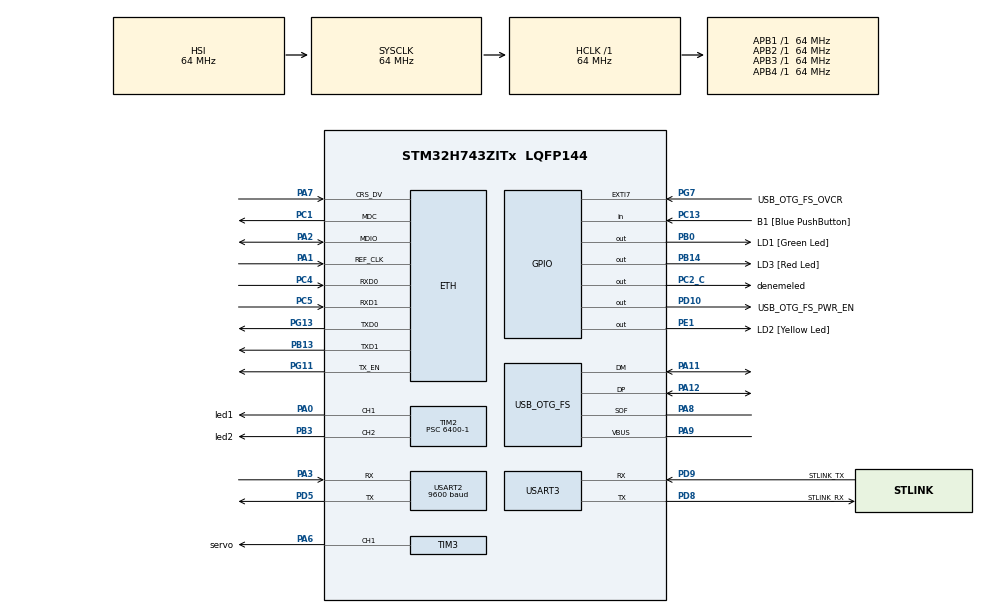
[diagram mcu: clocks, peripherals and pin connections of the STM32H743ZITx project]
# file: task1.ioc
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ETH.MediaInterface=HAL_ETH_RMII_MODE
Mcu.Family=STM32H7
Mcu.Name=STM32H743ZITx
Mcu.Package=LQFP144
NVIC.PriorityGroup=NVIC_PRIORITYGROUP_4
NVIC.TIM2_IRQn=true\:0\:0\:false\:false\:true\:true\:true\:true
NVIC.TIM3_IRQn=true\:0\:0\:false\:false\:true\:true\:true\:true
NVIC.USART2_IRQn=true\:0\:0\:false\:false\:true\:true\:true\:true
PA0.GPIO_Label=led1
PA0.Signal=S_TIM2_CH1_ETR
PA1.Mode=RMII
PA1.Signal=ETH_REF_CLK
PA11.Mode=Device_Only
PA11.Signal=USB_OTG_FS_DM
PA12.Mode=Device_Only
PA12.Signal=USB_OTG_FS_DP
PA2.Mode=RMII
PA2.Signal=ETH_MDIO
PA3.Mode=Asynchronous
PA3.Signal=USART2_RX
PA6.GPIO_Label=servo
PA6.Signal=S_TIM3_CH1
PA7.Mode=RMII
PA7.Signal=ETH_CRS_DV
PA8.Mode=Activate_SOF_FS
PA8.Signal=USB_OTG_FS_SOF
PA9.Mode=Activate_VBUS
PA9.Signal=USB_OTG_FS_VBUS
PB0.GPIO_Label=LD1 [Green Led]
PB0.Signal=GPIO_Output
PB13.Mode=RMII
PB13.Signal=ETH_TXD1
PB14.GPIO_Label=LD3 [Red Led]
PB14.Signal=GPIO_Output
PB3\ (JTDO/TRACESWO).GPIO_Label=led2
PB3\ (JTDO/TRACESWO).Signal=S_TIM2_CH2
PC1.Mode=RMII
PC1.Signal=ETH_MDC
PC13.GPIO_Label=B1 [Blue PushButton]
PC13.Signal=GPIO_Input
PC14-OSC32_IN\ (OSC32_IN).Mode=LSE-External-Oscillator
PC14-OSC32_IN\ (OSC32_IN).Signal=RCC_OSC32_IN
PC15-OSC32_OUT\ (OSC32_OUT).Mode=LSE-External-Oscillator
PC15-OSC32_OUT\ (OSC32_OUT).Signal=RCC_OSC32_OUT
PC2_C.GPIO_Label=denemeled
PC2_C.Signal=GPIO_Output
PC4.Mode=RMII
PC4.Signal=ETH_RXD0
PC5.Mode=RMII
PC5.Signal=ETH_RXD1
PD10.GPIO_Label=USB_OTG_FS_PWR_EN
PD10.Signal=GPIO_Output
PD5.Mode=Asynchronous
PD5.Signal=USART2_TX
PD8.GPIO_Label=STLINK_RX
PD8.Mode=Asynchronous
PD8.Signal=USART3_TX
PD9.GPIO_Label=STLINK_TX
PD9.Mode=Asynchronous
PD9.Signal=USART3_RX
PE1.GPIO_Label=LD2 [Yellow Led]
PE1.Signal=GPIO_Output
PG11.Mode=RMII
PG11.Signal=ETH_TX_EN
PG13.Mode=RMII
PG13.Signal=ETH_TXD0
PG7.GPIO_Label=USB_OTG_FS_OVCR
PG7.Signal=GPXTI7
PH0-OSC_IN\ (PH0).Mode=HSE-External-Clock-Source
PH0-OSC_IN\ (PH0).Signal=RCC_OSC_IN
PH1-OSC_OUT\ (PH1).Signal=RCC_OSC_OUT
ProjectManager.HeapSize=0x200
ProjectManager.StackSize=0x400
ProjectManager.TargetToolchain=STM32CubeIDE
RCC.ADCFreq_Value=16125000
RCC.APB1Freq_Value=64000000
RCC.APB2Freq_Value=64000000
RCC.APB3Freq_Value=64000000
RCC.APB4Freq_Value=64000000
RCC.CortexFreq_Value=64000000
RCC.DIVM1=1
RCC.DIVN1=24
RCC.DIVQ1=4
RCC.HCLKFreq_Value=64000000
RCC.HSE_VALUE=8000000
RCC.PLLFRACN=0
RCC.PWR_Regulator_Voltage_Scale=PWR_REGULATOR_VOLTAGE_SCALE2
RCC.SYSCLKFreq_VALUE=64000000
RCC.USBFreq_Value=48000000
SH.S_TIM2_CH1_ETR.0=TIM2_CH1,PWM Generation1 CH1
SH.S_TIM2_CH2.0=TIM2_CH2,PWM Generation2 CH2
SH.S_TIM3_CH1.0=TIM3_CH1,PWM Generation1 CH1
TIM2.AutoReloadPreload=TIM_AUTORELOAD_PRELOAD_ENABLE
TIM2.Channel-PWM\ Generation1\ CH1=TIM_CHANNEL_1
TIM2.Channel-PWM\ Generation2\ CH2=TIM_CHANNEL_2
TIM2.Period=10000-1
TIM2.Prescaler=6400-1
TIM3.Channel-PWM\ Generation1\ CH1=TIM_CHANNEL_1
TIM3.Period=1000
TIM3.Prescaler=1280-1
USART2.BaudRate=9600
USART2.VirtualMode-Asynchronous=VM_ASYNC
USART3.VirtualMode-Asynchronous=VM_ASYNC
USB_OTG_FS.VirtualMode=Device_Only
VP_MEMORYMAP_VS_MEMORYMAP.Mode=CurAppReg
VP_TIM2_VS_ClockSourceINT.Mode=Internal
VP_TIM3_VS_ClockSourceINT.Mode=Internal
board=NUCLEO-H743ZI2

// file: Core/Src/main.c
/* USER CODE BEGIN Header */
/**
  ******************************************************************************
  * @file           : main.c
  * @brief          : Main program body
  ******************************************************************************
  * @attention
  *
  * Copyright (c) 2024 STMicroelectronics.
  * All rights reserved.
  *
  * This software is licensed under terms that can be found in the LICENSE file
  * in the root directory of this software component.
  * If no LICENSE file comes with this software, it is provided AS-IS.
  *
  ******************************************************************************
  */
/* USER CODE END Header */
#include "main.h"
#include "string.h"

#if defined ( __ICCARM__ ) /*!< IAR Compiler */
#pragma location=0x30000000
ETH_DMADescTypeDef  DMARxDscrTab[ETH_RX_DESC_CNT]; /* Ethernet Rx DMA Descriptors */
#pragma location=0x30000080
ETH_DMADescTypeDef  DMATxDscrTab[ETH_TX_DESC_CNT]; /* Ethernet Tx DMA Descriptors */

#elif defined ( __CC_ARM )  /* MDK ARM Compiler */

__attribute__((at(0x30000000))) ETH_DMADescTypeDef  DMARxDscrTab[ETH_RX_DESC_CNT]; /* Ethernet Rx DMA Descriptors */
__attribute__((at(0x30000080))) ETH_DMADescTypeDef  DMATxDscrTab[ETH_TX_DESC_CNT]; /* Ethernet Tx DMA Descriptors */

#elif defined ( __GNUC__ ) /* GNU Compiler */

ETH_DMADescTypeDef DMARxDscrTab[ETH_RX_DESC_CNT] __attribute__((section(".RxDecripSection"))); /* Ethernet Rx DMA Descriptors */
ETH_DMADescTypeDef DMATxDscrTab[ETH_TX_DESC_CNT] __attribute__((section(".TxDecripSection")));   /* Ethernet Tx DMA Descriptors */
#endif

ETH_TxPacketConfig TxConfig;

ETH_HandleTypeDef heth;

TIM_HandleTypeDef htim2;
TIM_HandleTypeDef htim3;

UART_HandleTypeDef huart2;
UART_HandleTypeDef huart3;

PCD_HandleTypeDef hpcd_USB_OTG_FS;

void SystemClock_Config(void);
static void MX_GPIO_Init(void);
static void MX_ETH_Init(void);
static void MX_USART3_UART_Init(void);
static void MX_USB_OTG_FS_PCD_Init(void);
static void MX_TIM2_Init(void);
static void MX_TIM3_Init(void);
static void MX_USART2_UART_Init(void);

/* USER CODE BEGIN 0 */

uint8_t data[5]={0x00,0x00,0x00,0x00,0x00};
int k=0;
uint8_t data_V[3];
uint8_t data_crc[2];
 uint16_t calculated_crc;

void menu();
void wait(uint8_t data[5]);
void function1(uint8_t data[3] );
void function2();
void function3(uint8_t data[5]);
void function4();

uint16_t crc16_ibm(const uint8_t* data, uint16_t length);

/* USER CODE END 0 */

int main(void)
{

  /* MCU Configuration--------------------------------------------------------*/

  /* Reset of all peripherals, Initializes the Flash interface and the Systick. */
  HAL_Init();

  /* Configure the system clock */
  SystemClock_Config();

  /* Initialize all configured peripherals */
  MX_GPIO_Init();
  MX_ETH_Init();
  MX_USART3_UART_Init();
  MX_USB_OTG_FS_PCD_Init();
  MX_TIM2_Init();
  MX_TIM3_Init();
  MX_USART2_UART_Init();
  /* USER CODE BEGIN 2 */
  HAL_UART_Receive_IT(&huart2,data,sizeof(data));

  /* USER CODE END 2 */

  /* Infinite loop */
  /* USER CODE BEGIN WHILE */
  while (1)
  {

		 menu();
		 wait(data);
		 HAL_Delay(50);

		 data_V[0]=data[0];
		 data_V[1]=data[1];
		 data_V[2]=data[2];

		calculated_crc = crc16_ibm(data_V,sizeof(data_V));

		 data_crc[0]=data[3];
		 data_crc[1]=data[4];

		uint16_t combined = ((uint16_t)data_crc[0] << 8) | (uint16_t)data_crc[1];
		uint8_t data1=0x31;
		uint8_t data2=0x32;
		uint8_t data3=0x33;
		uint8_t data4=0x30;

		 if (combined == calculated_crc) {
		     const char* true_msg = "No error, selected action is being performed...\n";
		     HAL_UART_Transmit(&huart2, true_msg, strlen(true_msg), 1000);

		      if(data[1]==data1){
		    	  function1(data_V);
		        //fuction1();
		      }
		      else if(data[1]==data2){
		    	   function2();
		    	  //function2();
		      }
		      else if(data[1]==data3){
		    	  function3(data);
		    	  //function3();
		      }
		      else if(data[1]==data4){
		    	  function4();

		    }
		      else{
		    	  const char* false_msg = "Please choose an option in the menu...\n";
		    	  HAL_UART_Transmit(&huart2, (uint8_t*)false_msg, strlen(false_msg), 1000);
		      }

		 } else if (combined != calculated_crc) {
		     const char* false_msg = "There is an error, check the entered data or crc value...\n";
		     HAL_UART_Transmit(&huart2, (uint8_t*)false_msg, strlen(false_msg), 1000);
		 }

    /* USER CODE END WHILE */

  }
}

void SystemClock_Config(void)
{
  RCC_OscInitTypeDef RCC_OscInitStruct = {0};
  RCC_ClkInitTypeDef RCC_ClkInitStruct = {0};

  /** Supply configuration update enable
  */
  HAL_PWREx_ConfigSupply(PWR_LDO_SUPPLY);

  /** Configure the main internal regulator output voltage
  */
  __HAL_PWR_VOLTAGESCALING_CONFIG(PWR_REGULATOR_VOLTAGE_SCALE2);

  while(!__HAL_PWR_GET_FLAG(PWR_FLAG_VOSRDY)) {}

  /** Initializes the RCC Oscillators according to the specified parameters
  * in the RCC_OscInitTypeDef structure.
  */
  RCC_OscInitStruct.OscillatorType = RCC_OSCILLATORTYPE_HSI|RCC_OSCILLATORTYPE_HSE;
  RCC_OscInitStruct.HSEState = RCC_HSE_BYPASS;
  RCC_OscInitStruct.HSIState = RCC_HSI_DIV1;
  RCC_OscInitStruct.HSICalibrationValue = RCC_HSICALIBRATION_DEFAULT;
  RCC_OscInitStruct.PLL.PLLState = RCC_PLL_ON;
  RCC_OscInitStruct.PLL.PLLSource = RCC_PLLSOURCE_HSE;
  RCC_OscInitStruct.PLL.PLLM = 1;
  RCC_OscInitStruct.PLL.PLLN = 24;
  RCC_OscInitStruct.PLL.PLLP = 2;
  RCC_OscInitStruct.PLL.PLLQ = 4;
  RCC_OscInitStruct.PLL.PLLR = 2;
  RCC_OscInitStruct.PLL.PLLRGE = RCC_PLL1VCIRANGE_3;
  RCC_OscInitStruct.PLL.PLLVCOSEL = RCC_PLL1VCOWIDE;
  RCC_OscInitStruct.PLL.PLLFRACN = 0;
  if (HAL_RCC_OscConfig(&RCC_OscInitStruct) != HAL_OK)
  {
    Error_Handler();
  }

  /** Initializes the CPU, AHB and APB buses clocks
  */
  RCC_ClkInitStruct.ClockType = RCC_CLOCKTYPE_HCLK|RCC_CLOCKTYPE_SYSCLK
                              |RCC_CLOCKTYPE_PCLK1|RCC_CLOCKTYPE_PCLK2
                              |RCC_CLOCKTYPE_D3PCLK1|RCC_CLOCKTYPE_D1PCLK1;
  RCC_ClkInitStruct.SYSCLKSource = RCC_SYSCLKSOURCE_HSI;
  RCC_ClkInitStruct.SYSCLKDivider = RCC_SYSCLK_DIV1;
  RCC_ClkInitStruct.AHBCLKDivider = RCC_HCLK_DIV1;
  RCC_ClkInitStruct.APB3CLKDivider = RCC_APB3_DIV1;
  RCC_ClkInitStruct.APB1CLKDivider = RCC_APB1_DIV1;
  RCC_ClkInitStruct.APB2CLKDivider = RCC_APB2_DIV1;
  RCC_ClkInitStruct.APB4CLKDivider = RCC_APB4_DIV1;

  if (HAL_RCC_ClockConfig(&RCC_ClkInitStruct, FLASH_LATENCY_1) != HAL_OK)
  {
    Error_Handler();
  }
}

static void MX_ETH_Init(void)
{

   static uint8_t MACAddr[6];

  heth.Instance = ETH;
  MACAddr[0] = 0x00;
  MACAddr[1] = 0x80;
  MACAddr[2] = 0xE1;
  MACAddr[3] = 0x00;
  MACAddr[4] = 0x00;
  MACAddr[5] = 0x00;
  heth.Init.MACAddr = &MACAddr[0];
  heth.Init.MediaInterface = HAL_ETH_RMII_MODE;
  heth.Init.TxDesc = DMATxDscrTab;
  heth.Init.RxDesc = DMARxDscrTab;
  heth.Init.RxBuffLen = 1524;

  if (HAL_ETH_Init(&heth) != HAL_OK)
  {
    Error_Handler();
  }

  memset(&TxConfig, 0 , sizeof(ETH_TxPacketConfig));
  TxConfig.Attributes = ETH_TX_PACKETS_FEATURES_CSUM | ETH_TX_PACKETS_FEATURES_CRCPAD;
  TxConfig.ChecksumCtrl = ETH_CHECKSUM_IPHDR_PAYLOAD_INSERT_PHDR_CALC;
  TxConfig.CRCPadCtrl = ETH_CRC_PAD_INSERT;

}

static void MX_TIM2_Init(void)
{

  TIM_ClockConfigTypeDef sClockSourceConfig = {0};
  TIM_MasterConfigTypeDef sMasterConfig = {0};
  TIM_OC_InitTypeDef sConfigOC = {0};

  htim2.Instance = TIM2;
  htim2.Init.Prescaler = 6400-1;
  htim2.Init.CounterMode = TIM_COUNTERMODE_UP;
  htim2.Init.Period = 10000-1;
  htim2.Init.ClockDivision = TIM_CLOCKDIVISION_DIV1;
  htim2.Init.AutoReloadPreload = TIM_AUTORELOAD_PRELOAD_ENABLE;
  if (HAL_TIM_Base_Init(&htim2) != HAL_OK)
  {
    Error_Handler();
  }
  sClockSourceConfig.ClockSource = TIM_CLOCKSOURCE_INTERNAL;
  if (HAL_TIM_ConfigClockSource(&htim2, &sClockSourceConfig) != HAL_OK)
  {
    Error_Handler();
  }
  if (HAL_TIM_PWM_Init(&htim2) != HAL_OK)
  {
    Error_Handler();
  }
  sMasterConfig.MasterOutputTrigger = TIM_TRGO_RESET;
  sMasterConfig.MasterSlaveMode = TIM_MASTERSLAVEMODE_DISABLE;
  if (HAL_TIMEx_MasterConfigSynchronization(&htim2, &sMasterConfig) != HAL_OK)
  {
    Error_Handler();
  }
  sConfigOC.OCMode = TIM_OCMODE_PWM1;
  sConfigOC.Pulse = 0;
  sConfigOC.OCPolarity = TIM_OCPOLARITY_HIGH;
  sConfigOC.OCFastMode = TIM_OCFAST_DISABLE;
  if (HAL_TIM_PWM_ConfigChannel(&htim2, &sConfigOC, TIM_CHANNEL_1) != HAL_OK)
  {
    Error_Handler();
  }
  if (HAL_TIM_PWM_ConfigChannel(&htim2, &sConfigOC, TIM_CHANNEL_2) != HAL_OK)
  {
    Error_Handler();
  }
  HAL_TIM_MspPostInit(&htim2);

}

static void MX_TIM3_Init(void)
{

  TIM_ClockConfigTypeDef sClockSourceConfig = {0};
  TIM_MasterConfigTypeDef sMasterConfig = {0};
  TIM_OC_InitTypeDef sConfigOC = {0};

  htim3.Instance = TIM3;
  htim3.Init.Prescaler = 1280-1;
  htim3.Init.CounterMode = TIM_COUNTERMODE_UP;
  htim3.Init.Period = 1000;
  htim3.Init.ClockDivision = TIM_CLOCKDIVISION_DIV1;
  htim3.Init.AutoReloadPreload = TIM_AUTORELOAD_PRELOAD_DISABLE;
  if (HAL_TIM_Base_Init(&htim3) != HAL_OK)
  {
    Error_Handler();
  }
  sClockSourceConfig.ClockSource = TIM_CLOCKSOURCE_INTERNAL;
  if (HAL_TIM_ConfigClockSource(&htim3, &sClockSourceConfig) != HAL_OK)
  {
    Error_Handler();
  }
  if (HAL_TIM_PWM_Init(&htim3) != HAL_OK)
  {
    Error_Handler();
  }
  sMasterConfig.MasterOutputTrigger = TIM_TRGO_RESET;
  sMasterConfig.MasterSlaveMode = TIM_MASTERSLAVEMODE_DISABLE;
  if (HAL_TIMEx_MasterConfigSynchronization(&htim3, &sMasterConfig) != HAL_OK)
  {
    Error_Handler();
  }
  sConfigOC.OCMode = TIM_OCMODE_PWM1;
  sConfigOC.Pulse = 0;
  sConfigOC.OCPolarity = TIM_OCPOLARITY_HIGH;
  sConfigOC.OCFastMode = TIM_OCFAST_DISABLE;
  if (HAL_TIM_PWM_ConfigChannel(&htim3, &sConfigOC, TIM_CHANNEL_1) != HAL_OK)
  {
    Error_Handler();
  }
  HAL_TIM_MspPostInit(&htim3);

}

static void MX_USART2_UART_Init(void)
{

  huart2.Instance = USART2;
  huart2.Init.BaudRate = 9600;
  huart2.Init.WordLength = UART_WORDLENGTH_8B;
  huart2.Init.StopBits = UART_STOPBITS_1;
  huart2.Init.Parity = UART_PARITY_NONE;
  huart2.Init.Mode = UART_MODE_TX_RX;
  huart2.Init.HwFlowCtl = UART_HWCONTROL_NONE;
  huart2.Init.OverSampling = UART_OVERSAMPLING_16;
  huart2.Init.OneBitSampling = UART_ONE_BIT_SAMPLE_DISABLE;
  huart2.Init.ClockPrescaler = UART_PRESCALER_DIV1;
  huart2.AdvancedInit.AdvFeatureInit = UART_ADVFEATURE_NO_INIT;
  if (HAL_UART_Init(&huart2) != HAL_OK)
  {
    Error_Handler();
  }
  if (HAL_UARTEx_SetTxFifoThreshold(&huart2, UART_TXFIFO_THRESHOLD_1_8) != HAL_OK)
  {
    Error_Handler();
  }
  if (HAL_UARTEx_SetRxFifoThreshold(&huart2, UART_RXFIFO_THRESHOLD_1_8) != HAL_OK)
  {
    Error_Handler();
  }
  if (HAL_UARTEx_DisableFifoMode(&huart2) != HAL_OK)
  {
    Error_Handler();
  }

}

static void MX_USART3_UART_Init(void)
{

  huart3.Instance = USART3;
  huart3.Init.BaudRate = 115200;
  huart3.Init.WordLength = UART_WORDLENGTH_8B;
  huart3.Init.StopBits = UART_STOPBITS_1;
  huart3.Init.Parity = UART_PARITY_NONE;
  huart3.Init.Mode = UART_MODE_TX_RX;
  huart3.Init.HwFlowCtl = UART_HWCONTROL_NONE;
  huart3.Init.OverSampling = UART_OVERSAMPLING_16;
  huart3.Init.OneBitSampling = UART_ONE_BIT_SAMPLE_DISABLE;
  huart3.Init.ClockPrescaler = UART_PRESCALER_DIV1;
  huart3.AdvancedInit.AdvFeatureInit = UART_ADVFEATURE_NO_INIT;
  if (HAL_UART_Init(&huart3) != HAL_OK)
  {
    Error_Handler();
  }
  if (HAL_UARTEx_SetTxFifoThreshold(&huart3, UART_TXFIFO_THRESHOLD_1_8) != HAL_OK)
  {
    Error_Handler();
  }
  if (HAL_UARTEx_SetRxFifoThreshold(&huart3, UART_RXFIFO_THRESHOLD_1_8) != HAL_OK)
  {
    Error_Handler();
  }
  if (HAL_UARTEx_DisableFifoMode(&huart3) != HAL_OK)
  {
    Error_Handler();
  }

}

static void MX_USB_OTG_FS_PCD_Init(void)
{

  hpcd_USB_OTG_FS.Instance = USB_OTG_FS;
  hpcd_USB_OTG_FS.Init.dev_endpoints = 9;
  hpcd_USB_OTG_FS.Init.speed = PCD_SPEED_FULL;
  hpcd_USB_OTG_FS.Init.dma_enable = DISABLE;
  hpcd_USB_OTG_FS.Init.phy_itface = PCD_PHY_EMBEDDED;
  hpcd_USB_OTG_FS.Init.Sof_enable = ENABLE;
  hpcd_USB_OTG_FS.Init.low_power_enable = DISABLE;
  hpcd_USB_OTG_FS.Init.lpm_enable = DISABLE;
  hpcd_USB_OTG_FS.Init.battery_charging_enable = ENABLE;
  hpcd_USB_OTG_FS.Init.vbus_sensing_enable = ENABLE;
  hpcd_USB_OTG_FS.Init.use_dedicated_ep1 = DISABLE;
  if (HAL_PCD_Init(&hpcd_USB_OTG_FS) != HAL_OK)
  {
    Error_Handler();
  }

}

static void MX_GPIO_Init(void)
{
  GPIO_InitTypeDef GPIO_InitStruct = {0};

  /* GPIO Ports Clock Enable */
  __HAL_RCC_GPIOC_CLK_ENABLE();
  __HAL_RCC_GPIOH_CLK_ENABLE();
  __HAL_RCC_GPIOA_CLK_ENABLE();
  __HAL_RCC_GPIOB_CLK_ENABLE();
  __HAL_RCC_GPIOD_CLK_ENABLE();
  __HAL_RCC_GPIOG_CLK_ENABLE();
  __HAL_RCC_GPIOE_CLK_ENABLE();

  /*Configure GPIO pin Output Level */
  HAL_GPIO_WritePin(denemeled_GPIO_Port, denemeled_Pin, GPIO_PIN_RESET);

  /*Configure GPIO pin Output Level */
  HAL_GPIO_WritePin(GPIOB, LD1_Pin|LD3_Pin, GPIO_PIN_RESET);

  /*Configure GPIO pin Output Level */
  HAL_GPIO_WritePin(USB_OTG_FS_PWR_EN_GPIO_Port, USB_OTG_FS_PWR_EN_Pin, GPIO_PIN_RESET);

  /*Configure GPIO pin Output Level */
  HAL_GPIO_WritePin(LD2_GPIO_Port, LD2_Pin, GPIO_PIN_RESET);

  /*Configure GPIO pin : B1_Pin */
  GPIO_InitStruct.Pin = B1_Pin;
  GPIO_InitStruct.Mode = GPIO_MODE_INPUT;
  GPIO_InitStruct.Pull = GPIO_NOPULL;
  HAL_GPIO_Init(B1_GPIO_Port, &GPIO_InitStruct);

  /*Configure GPIO pin : denemeled_Pin */
  GPIO_InitStruct.Pin = denemeled_Pin;
  GPIO_InitStruct.Mode = GPIO_MODE_OUTPUT_PP;
  GPIO_InitStruct.Pull = GPIO_NOPULL;
  GPIO_InitStruct.Speed = GPIO_SPEED_FREQ_LOW;
  HAL_GPIO_Init(denemeled_GPIO_Port, &GPIO_InitStruct);

  /*Configure GPIO pins : LD1_Pin LD3_Pin */
  GPIO_InitStruct.Pin = LD1_Pin|LD3_Pin;
  GPIO_InitStruct.Mode = GPIO_MODE_OUTPUT_PP;
  GPIO_InitStruct.Pull = GPIO_NOPULL;
  GPIO_InitStruct.Speed = GPIO_SPEED_FREQ_LOW;
  HAL_GPIO_Init(GPIOB, &GPIO_InitStruct);

  /*Configure GPIO pin : USB_OTG_FS_PWR_EN_Pin */
  GPIO_InitStruct.Pin = USB_OTG_FS_PWR_EN_Pin;
  GPIO_InitStruct.Mode = GPIO_MODE_OUTPUT_PP;
  GPIO_InitStruct.Pull = GPIO_NOPULL;
  GPIO_InitStruct.Speed = GPIO_SPEED_FREQ_LOW;
  HAL_GPIO_Init(USB_OTG_FS_PWR_EN_GPIO_Port, &GPIO_InitStruct);

  /*Configure GPIO pin : USB_OTG_FS_OVCR_Pin */
  GPIO_InitStruct.Pin = USB_OTG_FS_OVCR_Pin;
  GPIO_InitStruct.Mode = GPIO_MODE_IT_RISING;
  GPIO_InitStruct.Pull = GPIO_NOPULL;
  HAL_GPIO_Init(USB_OTG_FS_OVCR_GPIO_Port, &GPIO_InitStruct);

  /*Configure GPIO pin : LD2_Pin */
  GPIO_InitStruct.Pin = LD2_Pin;
  GPIO_InitStruct.Mode = GPIO_MODE_OUTPUT_PP;
  GPIO_InitStruct.Pull = GPIO_NOPULL;
  GPIO_InitStruct.Speed = GPIO_SPEED_FREQ_LOW;
  HAL_GPIO_Init(LD2_GPIO_Port, &GPIO_InitStruct);

}

/* USER CODE BEGIN 4 */
void HAL_UART_RxCpltCallback(UART_HandleTypeDef *huart)
{
	 HAL_UART_Receive_IT(&huart2, data, sizeof(data));
}

void menu(){
	char* menu1="*********************************\n";
	char* menu2="Enter 3 number with hex code,\n";
	char* menu3="And enter the their crc number:,\n";
	char* menu4="            Menu:\n";
	char* menu5="1-Light the LED with the PWM\n";
	char* menu6="---(1) red,(2) blue,(3) both\n";
	char* menu7="2-Light the led with the timer\n";
	char* menu8="3-Drive servo-motor\n";
	char* menu9="0-Stop the timer\n";
	char* menu10="*********************************\n";

	HAL_UART_Transmit(&huart2, menu1, 35,1000);
	HAL_UART_Transmit(&huart2, menu2, 31,1000);
	HAL_UART_Transmit(&huart2, menu3,34,1000);
	HAL_UART_Transmit(&huart2, menu4,19,1000);
	HAL_UART_Transmit(&huart2, menu5,29 ,1000);
	HAL_UART_Transmit(&huart2, menu6,29 ,1000);
	HAL_UART_Transmit(&huart2, menu7,31,1000);
	HAL_UART_Transmit(&huart2, menu8,20,1000);
	HAL_UART_Transmit(&huart2, menu9,18 ,1000);
	HAL_UART_Transmit(&huart2, menu10,35 ,1000);

	return 1;

}
void wait(uint8_t data[5]){

	uint8_t exp[5];
	exp[0]= data[0];
	exp[1]= data[1];
	exp[2]= data[2];
	exp[3]= data[3];
	exp[4]= data[4];
	while(data[0]==exp[0] && data[1]== exp[1] && data[2]==exp[2]&& data[3]==exp[3]&& data[4]==exp[4]){

	}
	return 1;
}

void function1(uint8_t data[3]){

	uint8_t exp[3]={0x31 ,0x32 ,0x33};
  HAL_TIM_PWM_Stop(&htim2, TIM_CHANNEL_1);
  HAL_TIM_PWM_Stop(&htim2, TIM_CHANNEL_2);

	if(data[2]==exp[0]){
    HAL_TIM_PWM_Start(&htim2, TIM_CHANNEL_1);
    __HAL_TIM_SET_COMPARE(&htim2, TIM_CHANNEL_1,5000);
	}

	if(data[2]==exp[1]){
	 HAL_TIM_PWM_Start(&htim2, TIM_CHANNEL_2);
	__HAL_TIM_SET_COMPARE(&htim2, TIM_CHANNEL_2,5000);
	}

	if(data[2]==exp[2]){
	 HAL_TIM_PWM_Start(&htim2, TIM_CHANNEL_2);
	__HAL_TIM_SET_COMPARE(&htim2, TIM_CHANNEL_2,5000);
	HAL_TIM_PWM_Start(&htim2, TIM_CHANNEL_1);
	__HAL_TIM_SET_COMPARE(&htim2, TIM_CHANNEL_1,5000);

	}

	return 1;
}

void HAL_TIM_PeriodElapsedCallback(TIM_HandleTypeDef *htim){

	HAL_TIM_PWM_Start(&htim2, TIM_CHANNEL_2);
	__HAL_TIM_SET_COMPARE(&htim2, TIM_CHANNEL_2,9000);
	HAL_TIM_PWM_Start(&htim2, TIM_CHANNEL_1);
	__HAL_TIM_SET_COMPARE(&htim2, TIM_CHANNEL_1,9000);

}
void function2(){

	HAL_TIM_Base_Start_IT(&htim2);
	return 1;

}
void function3(uint8_t data[5]){

	HAL_TIM_PWM_Start(&htim3, TIM_CHANNEL_1);

	uint8_t exp=0x33;

	for(int i =0; i<130;i++){

    __HAL_TIM_SET_COMPARE(&htim3, TIM_CHANNEL_1,i);
	HAL_Delay(60);

	}

	return 1;

}

void function4(){

	HAL_TIM_Base_Stop_IT(&htim2);
	HAL_TIM_PWM_Stop(&htim2, TIM_CHANNEL_1);
	HAL_TIM_PWM_Stop(&htim2, TIM_CHANNEL_2);

	return 1;
}

uint16_t crc16_ibm(const uint8_t* data, uint16_t length) {
    uint16_t crc = 0x0000;  // Initial value
    uint16_t polynomial = 0x8005;  // CRC-16-IBM polynomial

    for (uint16_t i = 0; i < length; i++) {
        crc ^= (data[i]);  // XOR byte into low byte of crc

        for (uint8_t j = 0; j < 8; j++) {
            if (crc & 0x0001) {
                crc = (crc >> 1) ^ polynomial;
            } else {
                crc = crc >> 1;
            }
        }
    }

    return crc;
}

/* USER CODE END 4 */

void Error_Handler(void)
{
  __disable_irq();
  while (1)
  {
  }
}
